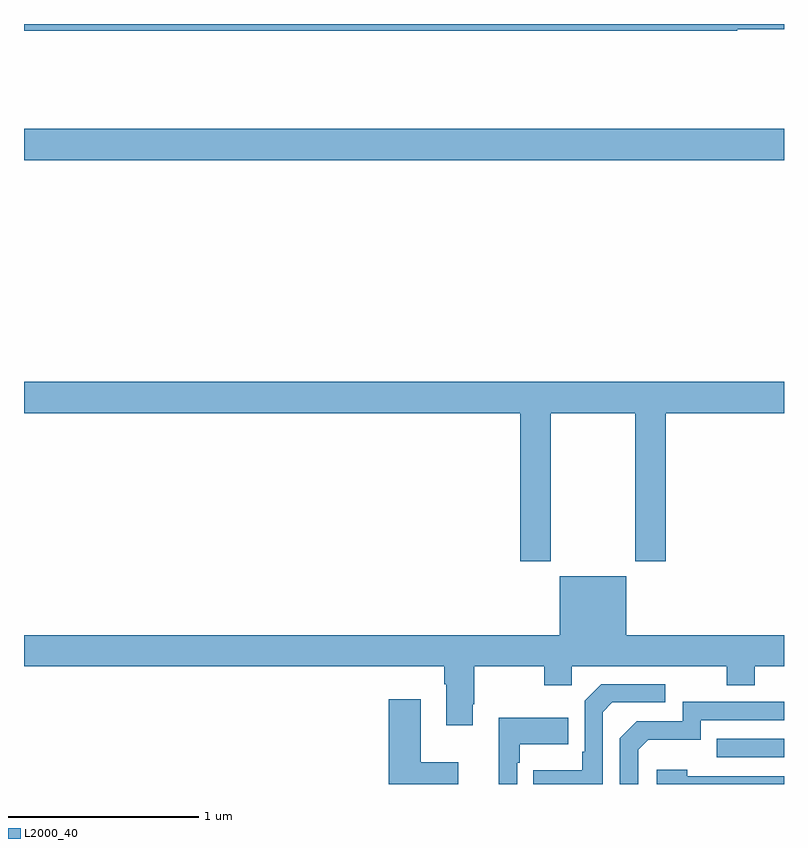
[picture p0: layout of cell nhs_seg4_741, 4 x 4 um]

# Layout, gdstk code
import gdstk
lib = gdstk.Library(unit=1e-6, precision=1e-09)
def R(c, l, rs):  # rectangles x0, y0, x1, y1
    for r in rs: c.add(gdstk.rectangle(r[:2], r[2:], *l))
def P(c, l, *ps):  # polygons
    for p in ps: c.add(gdstk.Polygon(p, *l))
L2000_40 = (2000, 40)

nhs_seg4_741 = lib.new_cell('nhs_seg4_741')
R(nhs_seg4_741, L2000_40, [(152.647,763.041,153,763.137), (149,766.184,153,766.348)])
P(nhs_seg4_741, L2000_40, [(152.755,766.872),(153,766.872),(153,766.9),(149,766.9),(149,766.864),(152.755,766.864)],
  [(149,764.852),(151.613,764.852),(151.613,764.073),(151.773,764.073),(151.773,764.852),(152.218,764.852),(152.218,764.073),(152.378,764.073),(152.378,764.852),(153,764.852),(153,765.016),(149,765.016)],
  [(151.363,763.321),(151.371,763.321),(151.371,763.52),(151.738,763.52),(151.738,763.421),(151.884,763.421),(151.884,763.52),(152.698,763.52),(152.698,763.421),(152.845,763.421),(152.845,763.52),(153,763.52),(153,763.684),(152.17,763.684),(152.17,763.993),(151.82,763.993),(151.82,763.684),(149,763.684),(149,763.52),(151.211,763.52),(151.211,763.424),(151.223,763.424),(151.223,763.209),(151.363,763.209)],
  [(152.046,763.278),(152.097,763.329),(152.374,763.329),(152.374,763.425),(152.037,763.425),(151.95,763.338),(151.95,763.069),(151.938,763.069),(151.938,762.973),(151.681,762.973),(151.681,762.9),(152.046,762.9)],
  [(151.285,763.015),(151.087,763.015),(151.087,763.345),(150.92,763.345),(150.92,762.9),(151.285,762.9)],
  [(152.232,763.08),(152.285,763.133),(152.562,763.133),(152.562,763.236),(153,763.236),(153,763.332),(152.466,763.332),(152.466,763.23),(152.226,763.23),(152.136,763.14),(152.136,762.9),(152.232,762.9)],
  [(151.596,763.013),(151.609,763.013),(151.609,763.109),(151.865,763.109),(151.865,763.249),(151.499,763.249),(151.499,762.9),(151.596,762.9)],
  [(153,762.942),(152.492,762.942),(152.492,762.976),(152.331,762.976),(152.331,762.9),(153,762.9)])

lib.write_gds('nhs_seg4_741.gds')
